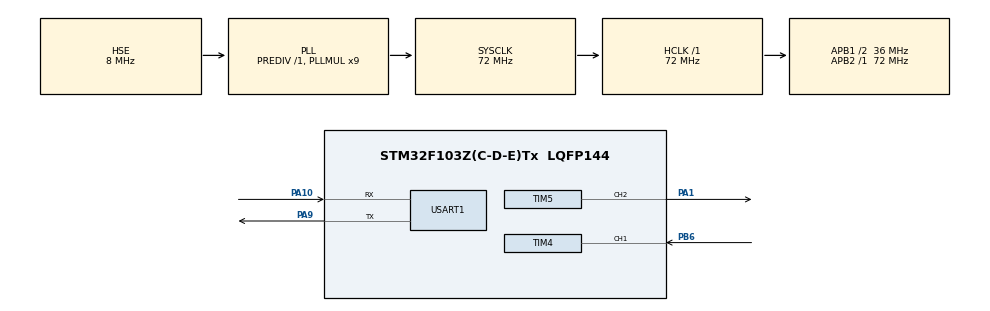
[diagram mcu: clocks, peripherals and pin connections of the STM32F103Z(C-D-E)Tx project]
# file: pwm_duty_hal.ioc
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Mcu.Family=STM32F1
Mcu.Name=STM32F103Z(C-D-E)Tx
Mcu.Package=LQFP144
NVIC.PriorityGroup=NVIC_PRIORITYGROUP_4
OSC_IN.Mode=HSE-External-Oscillator
OSC_IN.Signal=RCC_OSC_IN
OSC_OUT.Mode=HSE-External-Oscillator
OSC_OUT.Signal=RCC_OSC_OUT
PA1.Signal=S_TIM5_CH2
PA10.Mode=Asynchronous
PA10.Signal=USART1_RX
PA9.Mode=Asynchronous
PA9.Signal=USART1_TX
PB6.GPIO_Speed=GPIO_SPEED_FREQ_HIGH
PB6.Signal=S_TIM4_CH1
PC14-OSC32_IN.Mode=LSE-External-Oscillator
PC14-OSC32_IN.Signal=RCC_OSC32_IN
PC15-OSC32_OUT.Mode=LSE-External-Oscillator
PC15-OSC32_OUT.Signal=RCC_OSC32_OUT
ProjectManager.HeapSize=0x200
ProjectManager.StackSize=0x400
ProjectManager.TargetToolchain=MDK-ARM V5.32
RCC.AHBFreq_Value=72000000
RCC.APB1CLKDivider=RCC_HCLK_DIV2
RCC.APB1Freq_Value=36000000
RCC.APB1TimFreq_Value=72000000
RCC.APB2Freq_Value=72000000
RCC.APB2TimFreq_Value=72000000
RCC.HCLKFreq_Value=72000000
RCC.PLLMUL=RCC_PLL_MUL9
RCC.PLLSourceVirtual=RCC_PLLSOURCE_HSE
RCC.SYSCLKFreq_VALUE=72000000
RCC.SYSCLKSource=RCC_SYSCLKSOURCE_PLLCLK
RCC.USBFreq_Value=72000000
SH.S_TIM4_CH1.0=TIM4_CH1,Input_Capture1_from_TI1
SH.S_TIM4_CH1.1=TIM4_CH1,TriggerSource_TI1FP1
SH.S_TIM5_CH2.0=TIM5_CH2,PWM Generation2 CH2
TIM4.Channel-Input_Capture1_from_TI1=TIM_CHANNEL_1
TIM4.Channel-Input_Capture2_from_TI1_63=TIM_CHANNEL_2
TIM4.ICPolarity_CH2=TIM_INPUTCHANNELPOLARITY_FALLING
TIM4.Prescaler=72-1
TIM5.Channel-PWM\ Generation2\ CH2=TIM_CHANNEL_2
TIM5.Period=100-1
TIM5.Prescaler=7200-1
TIM5.Pulse-PWM\ Generation2\ CH2=50
USART1.VirtualMode=VM_ASYNC
VP_SYS_VS_ND.Mode=No_Debug
VP_TIM4_VS_ClockSourceINT.Mode=Internal
VP_TIM4_VS_ControllerModeReset.Mode=Reset Mode
VP_TIM4_VS_indirect_ch1.Mode=Input_Capture2_from_TI1_63
VP_TIM5_VS_ClockSourceINT.Mode=Internal
board=custom

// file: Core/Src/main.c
/* USER CODE BEGIN Header */
/**
  ******************************************************************************
  * @file           : main.c
  * @brief          : Main program body
  ******************************************************************************
  * @attention
  *
  * Copyright (c) 2026 STMicroelectronics.
  * All rights reserved.
  *
  * This software is licensed under terms that can be found in the LICENSE file
  * in the root directory of this software component.
  * If no LICENSE file comes with this software, it is provided AS-IS.
  *
  ******************************************************************************
  */
/* USER CODE END Header */
#include "main.h"
#include "tim.h"
#include "usart.h"
#include "gpio.h"

/* USER CODE BEGIN Includes */
#include "stdio.h"
/* USER CODE END Includes */

void SystemClock_Config(void);

/* USER CODE BEGIN 0 */
int fputc(int ch, FILE *file)
{
  HAL_UART_Transmit(&huart1, (uint8_t *)&ch, 1, 1000);
  return ch;
}

double getCycle(){
  return TIM4->CCR1/1000.0;
}

double getFreq(){
  return 1000000.0/TIM4->CCR1;
}
/* USER CODE END 0 */

int main(void)
{

  /* MCU Configuration--------------------------------------------------------*/

  /* Reset of all peripherals, Initializes the Flash interface and the Systick. */
  HAL_Init();

  /* Configure the system clock */
  SystemClock_Config();

  /* Initialize all configured peripherals */
  MX_GPIO_Init();
  MX_TIM4_Init();
  MX_TIM5_Init();
  MX_USART1_UART_Init();
  /* USER CODE BEGIN 2 */
  HAL_TIM_PWM_Start(&htim5, TIM_CHANNEL_2);
  HAL_TIM_IC_Start(&htim4, TIM_CHANNEL_1);
  HAL_TIM_IC_Start(&htim4, TIM_CHANNEL_2);

  printf("����ռ�ձ�-HAL��ʵ��...\n");
  /* USER CODE END 2 */

  /* Infinite loop */
  /* USER CODE BEGIN WHILE */
  while (1)
  {
    uint32_t ccr1 = __HAL_TIM_GetCompare(&htim4, TIM_CHANNEL_1);
    uint32_t ccr2 = __HAL_TIM_GetCompare(&htim4, TIM_CHANNEL_2);
    float duty = 1.0*(ccr2+1)/(ccr1+1)*100;
    printf("duty=%.2f%%\n", duty);
    HAL_Delay(1000);
    /* USER CODE END WHILE */

  }
}

void SystemClock_Config(void)
{
  RCC_OscInitTypeDef RCC_OscInitStruct = {0};
  RCC_ClkInitTypeDef RCC_ClkInitStruct = {0};

  /** Initializes the RCC Oscillators according to the specified parameters
  * in the RCC_OscInitTypeDef structure.
  */
  RCC_OscInitStruct.OscillatorType = RCC_OSCILLATORTYPE_HSE;
  RCC_OscInitStruct.HSEState = RCC_HSE_ON;
  RCC_OscInitStruct.HSEPredivValue = RCC_HSE_PREDIV_DIV1;
  RCC_OscInitStruct.HSIState = RCC_HSI_ON;
  RCC_OscInitStruct.PLL.PLLState = RCC_PLL_ON;
  RCC_OscInitStruct.PLL.PLLSource = RCC_PLLSOURCE_HSE;
  RCC_OscInitStruct.PLL.PLLMUL = RCC_PLL_MUL9;
  if (HAL_RCC_OscConfig(&RCC_OscInitStruct) != HAL_OK)
  {
    Error_Handler();
  }

  /** Initializes the CPU, AHB and APB buses clocks
  */
  RCC_ClkInitStruct.ClockType = RCC_CLOCKTYPE_HCLK|RCC_CLOCKTYPE_SYSCLK
                              |RCC_CLOCKTYPE_PCLK1|RCC_CLOCKTYPE_PCLK2;
  RCC_ClkInitStruct.SYSCLKSource = RCC_SYSCLKSOURCE_PLLCLK;
  RCC_ClkInitStruct.AHBCLKDivider = RCC_SYSCLK_DIV1;
  RCC_ClkInitStruct.APB1CLKDivider = RCC_HCLK_DIV2;
  RCC_ClkInitStruct.APB2CLKDivider = RCC_HCLK_DIV1;

  if (HAL_RCC_ClockConfig(&RCC_ClkInitStruct, FLASH_LATENCY_2) != HAL_OK)
  {
    Error_Handler();
  }
}

void Error_Handler(void)
{
  __disable_irq();
  while (1)
  {
  }
}
